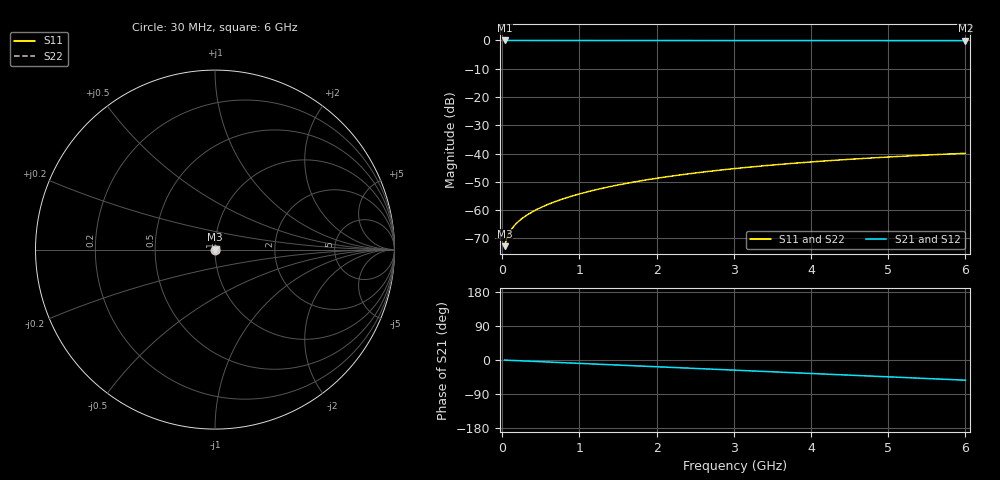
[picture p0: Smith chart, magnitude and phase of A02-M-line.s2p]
! yapnr Order 0 O0-M: O0-M A02 M dL4.5 (line, family M)
! stackup OSHPARK-4L-FR408HR, nominal parameters; geometry of the OSHPARK-4L-FR408HR design
! model: 2D quasi-static RLGC (Djordjevic-Sarkar, Huray roughness, Wheeler loss); generated by python -m yapnr.rf.coupons expected --stackup OSHPARK-4L-FR408HR --upload M
! reference planes 10 mm from each end; 50 ohm (from the M line's Zc)
# GHz S DB R 50
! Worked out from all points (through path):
!   200 points, 30 MHz to 6 GHz, reference 50 ohm
!   highest |S21| = 0.00 dB at 30 MHz (marker M1); lowest = -0.1 dB at 6 GHz (marker M2)
!   group delay of S21, straight-line fit = 24.6 ps
!   lowest |S11| = -72.7 dB at 30 MHz (marker M3), VSWR 1.00, Z = 50 + j0.0159 ohm
!   |S11| at or under -10 dB: start of sweep to end of sweep
!   |S22| runs from -72.7 to -39.9 dB; largest |S21 - S12| = 0
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0.03  -72.73 43.4  -0.00 -0.3  -0.00 -0.3  -72.73 43.4
0.06  -69.79 45.4  -0.00 -0.6  -0.00 -0.6  -69.79 45.4
0.09  -68.01 47.0  -0.00 -0.8  -0.00 -0.8  -68.01 47.0
0.12  -66.70 48.4  -0.00 -1.1  -0.00 -1.1  -66.70 48.4
0.15  -65.64 49.7  -0.00 -1.4  -0.00 -1.4  -65.64 49.7
0.21  -63.98 51.9  -0.01 -1.9  -0.01 -1.9  -63.98 51.9
0.3  -62.08 54.6  -0.01 -2.7  -0.01 -2.7  -62.08 54.6
0.42  -60.13 57.3  -0.01 -3.8  -0.01 -3.8  -60.13 57.3
0.51  -58.93 58.9  -0.01 -4.6  -0.01 -4.6  -58.93 58.9
0.6  -57.87 60.1  -0.01 -5.4  -0.01 -5.4  -57.87 60.1
0.81  -55.80 62.1  -0.01 -7.2  -0.01 -7.2  -55.80 62.1
1.05  -53.88 63.2  -0.02 -9.4  -0.02 -9.4  -53.88 63.2
1.26  -52.48 63.6  -0.02 -11.2  -0.02 -11.2  -52.48 63.6
1.5  -51.09 63.5  -0.02 -13.4  -0.02 -13.4  -51.09 63.5
1.77  -49.74 63.0  -0.02 -15.8  -0.02 -15.8  -49.74 63.0
2.04  -48.56 62.1  -0.03 -18.2  -0.03 -18.2  -48.56 62.1
2.52  -46.79 59.9  -0.03 -22.4  -0.03 -22.4  -46.79 59.9
3.03  -45.24 57.0  -0.04 -27.0  -0.04 -27.0  -45.24 57.0
3.54  -43.95 53.8  -0.04 -31.5  -0.04 -31.5  -43.95 53.8
4.02  -42.91 50.5  -0.05 -35.7  -0.05 -35.7  -42.91 50.5
5.01  -41.19 43.3  -0.06 -44.5  -0.06 -44.5  -41.19 43.3
6  -39.90 35.7  -0.06 -53.3  -0.06 -53.3  -39.90 35.7
